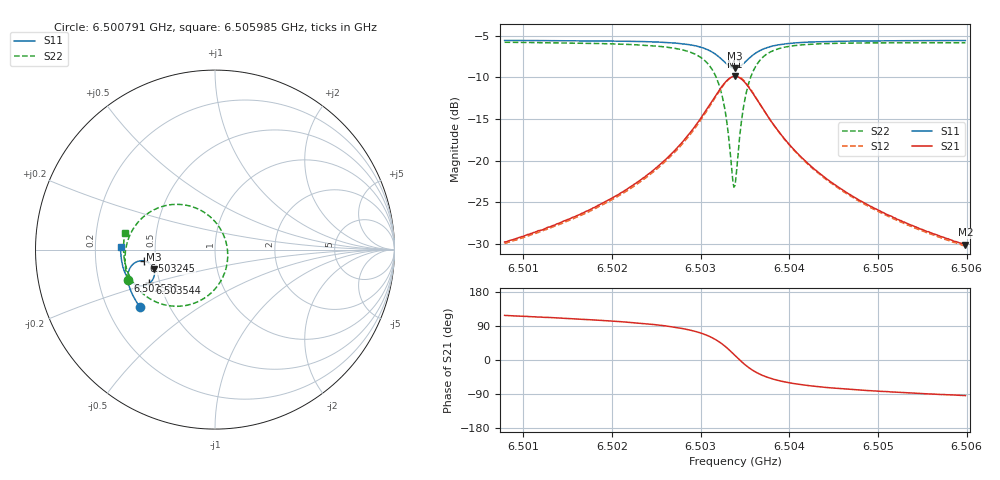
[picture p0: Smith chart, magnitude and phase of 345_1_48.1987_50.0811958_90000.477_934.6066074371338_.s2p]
#  HZ  S  RI  R  50.00
! Rohde & Schwarz Vector Network Analyzer
! Rohde-Schwarz,ZNB20-2Port,1311601062101988,3.16
! Created: UTC 3/20/2024, 11:51:33 AM
! freq[Hz]  re:S11  im:S11  re:S21  im:S21  re:S12  im:S12  re:S22  im:S22
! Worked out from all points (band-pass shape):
!   401 points, 6.500791 GHz to 6.505985 GHz, reference 50 ohm
!   highest |S21| = -9.88 dB at 6.503388 GHz (marker M1); lowest = -30.1 dB at 6.505985 GHz (marker M2)
!   |S21| within 3 dB of the highest: 6.503128 GHz to 6.503647 GHz (519.4 kHz wide, 0.00799 % of centre)
!   lowest |S11| = -8.9 dB at 6.503388 GHz (marker M3), VSWR 2.11, Z = 24.1 - j6.12 ohm
!   |S11| at or under -10 dB: nowhere
!   |S22| runs from -23.2 to -5.8 dB; largest |S21 - S12| = 0.011
!   S11 on the Smith chart (normalised r, x): 6.500791 GHz: 0.34, -0.30; 6.502531 GHz: 0.33, -0.15; 6.503245 GHz: 0.43, -0.06; 6.503544 GHz: 0.44, -0.20; 6.505985 GHz: 0.31, +0.01
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6.5007914e9  -0.4191 -0.3187  -0.0151 0.0288  -0.0134 0.0289  -0.4851 -0.1684
6.5016613e9  -0.4574 -0.2558  -0.0145 0.0461  -0.0122 0.0456  -0.501 -0.0783
6.5021417e9  -0.475 -0.2141  -0.0119 0.0649  -0.00886 0.0639  -0.4993 -0.0124
6.5025312e9  -0.4849 -0.1724  -0.00329 0.0937  0.000275 0.0914  -0.4815 0.0625
6.5027909e9  -0.4847 -0.1356  0.0151 0.1277  0.0189 0.1239  -0.4428 0.1348
6.5029727e9  -0.4737 -0.1023  0.0491 0.1635  0.0523 0.1581  -0.3758 0.2004
6.5031415e9  -0.4395 -0.0694  0.1254 0.1963  0.1266 0.19  -0.236 0.2512
6.5032453e9  -0.3976 -0.0625  0.2092 0.1879  0.2095 0.1824  -0.09 0.2244
6.5032973e9  -0.3726 -0.0708  0.2568 0.1604  0.2574 0.1558  -0.0112 0.1682
6.5033622e9  -0.3465 -0.0966  0.3035 0.0983  0.306 0.0935  0.0594 0.049
6.5033881e9  -0.3403 -0.1107  0.3137 0.0667  0.3167 0.0611  0.0702 -0.00957
6.5034011e9  -0.3384 -0.1182  0.3163 0.0505  0.3195 0.0443  0.0711 -0.0396
6.5034531e9  -0.3393 -0.1484  0.3109 -0.0137  0.3137 -0.0222  0.0436 -0.1534
6.503479e9  -0.3442 -0.162  0.2998 -0.0422  0.3018 -0.0516  0.0151 -0.2011
6.5035439e9  -0.3649 -0.1871  0.2583 -0.095  0.2572 -0.1058  -0.0787 -0.282
6.5036478e9  -0.4036 -0.2018  0.1856 -0.1306  0.1806 -0.1397  -0.2247 -0.3156
6.5038166e9  -0.4487 -0.192  0.1061 -0.1279  0.0994 -0.1328  -0.3683 -0.2706
6.5039984e9  -0.4756 -0.1706  0.0626 -0.1086  0.0567 -0.1109  -0.4389 -0.207
6.504258e9  -0.4961 -0.1406  0.0333 -0.0851  0.0287 -0.0856  -0.4815 -0.1361
6.5046346e9  -0.5113 -0.102  0.015 -0.0633  0.0118 -0.0629  -0.5033 -0.0641
6.505128e9  -0.5211 -0.0569  0.00498 -0.0466  0.00272 -0.046  -0.5096 0.0037
6.5059849e9  -0.5258 0.0151  -0.00221 -0.0313  -0.00335 -0.0305  -0.5014 0.0924
